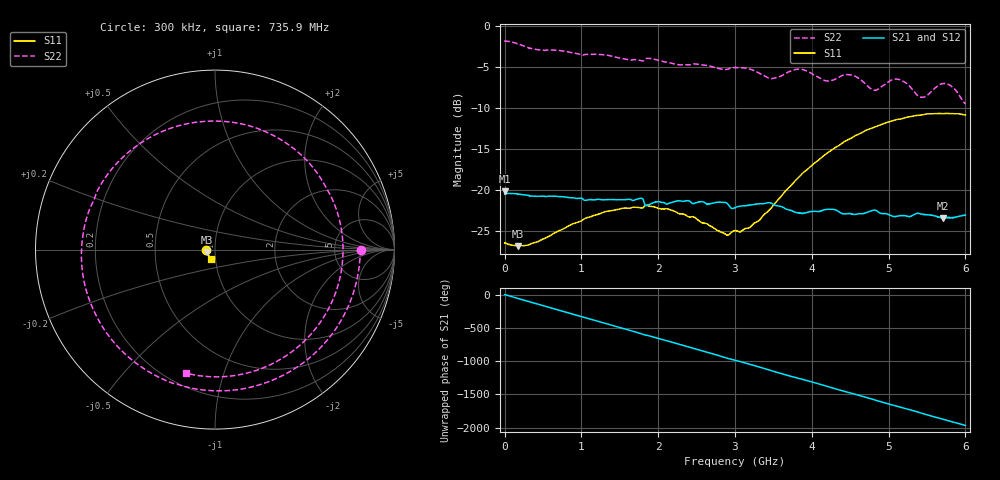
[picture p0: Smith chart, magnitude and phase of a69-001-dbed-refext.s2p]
!  3/18/2021  19:02:17
! Ref Plane: 13.288 mm
# MHZ S MA R  50
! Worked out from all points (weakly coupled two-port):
!   10001 points, 300 kHz to 6 GHz, reference 50 ohm
!   highest |S21| = -20.21 dB at 300 kHz (marker M1); lowest = -23.5 dB at 5.711 GHz (marker M2)
!   lowest |S11| = -26.9 dB at 168.3 MHz (marker M3), VSWR 1.09, Z = 45.8 - j1.23 ohm
!   |S11| at or under -10 dB: start of sweep to end of sweep
!   |S22| runs from -9.5 to -1.8 dB; largest |S21 - S12| = 0.002
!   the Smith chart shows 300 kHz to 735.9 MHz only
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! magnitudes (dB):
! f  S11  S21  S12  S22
! 300 kHz  -26.5  -20.2  -20.4  -1.8
! 168.3 MHz  -26.9  -20.6  -20.6  -2.2
! 1 GHz  -23.8  -21.0  -21.0  -3.5
! 1.542 GHz  -22.3  -21.2  -21.2  -4.0
! 1.854 GHz  -21.9  -21.9  -21.9  -4.0
! 2.001 GHz  -22.3  -21.5  -21.4  -4.2
! 2.467 GHz  -23.4  -21.7  -21.7  -4.6
! 2.888 GHz  -25.5  -21.6  -21.6  -5.3
! 3 GHz  -25.0  -22.2  -22.2  -5.1
! 3.313 GHz  -23.8  -21.7  -21.7  -5.8
! 3.476 GHz  -22.2  -21.7  -21.7  -6.4
! 3.804 GHz  -18.7  -22.8  -22.8  -5.3
! 4 GHz  -17.0  -22.7  -22.6  -5.8
! 4.203 GHz  -15.5  -22.4  -22.4  -6.7
! 4.53 GHz  -13.6  -23.0  -23.0  -6.0
! 4.816 GHz  -12.4  -22.5  -22.5  -7.9
! 5 GHz  -11.7  -23.0  -23.1  -6.8
! 5.172 GHz  -11.3  -23.2  -23.2  -6.7
! 5.431 GHz  -10.9  -23.0  -23.0  -8.7
! 5.711 GHz  -10.7  -23.5  -23.5  -7.0
! 5.842 GHz  -10.7  -23.4  -23.4  -7.5
! 6 GHz  -10.9  -23.1  -23.1  -9.5
